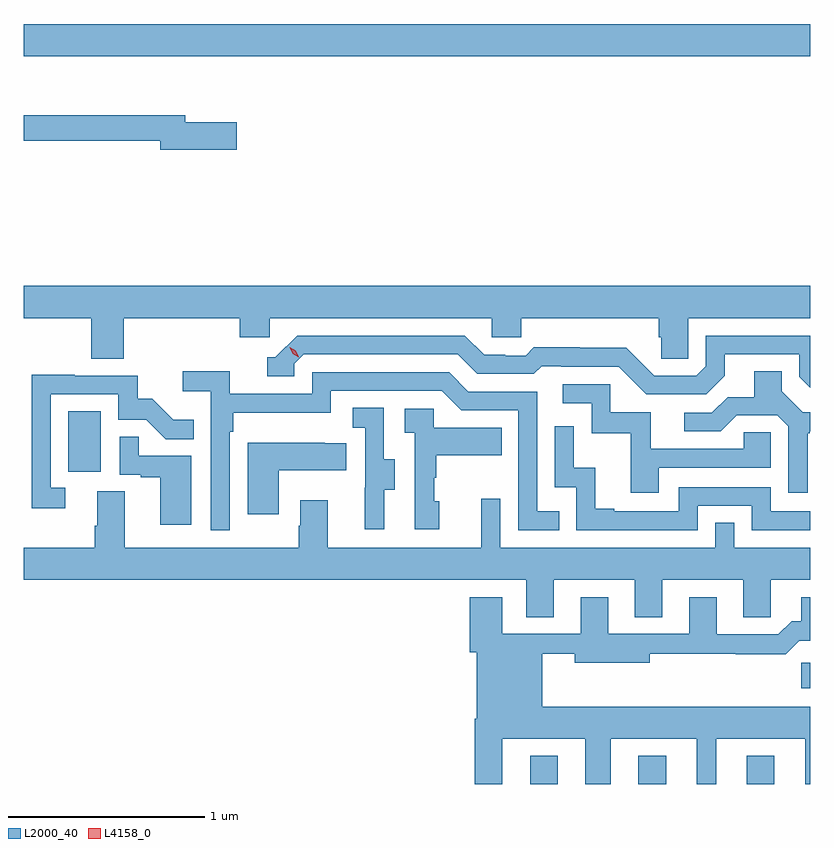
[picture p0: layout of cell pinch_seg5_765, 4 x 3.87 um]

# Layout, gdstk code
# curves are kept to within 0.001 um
import gdstk
lib = gdstk.Library(unit=1e-6, precision=1e-09)
def R(c, l, rs):  # rectangles x0, y0, x1, y1
    for r in rs: c.add(gdstk.rectangle(r[:2], r[2:], *l))
def A(c, l, x, y, w, h, nx, ny, dx, dy):  # array of equal rectangles
    R(c, l, [(x+i*dx, y+j*dy, x+i*dx+w, y+j*dy+h) for i in range(nx) for j in range(ny)])
def P(c, l, *ps):  # polygons
    for p in ps: c.add(gdstk.Polygon(p, *l))
L2000_40 = (2000, 40)
L4158_0 = (4158, 0)

pinch_seg5_765 = lib.new_cell('pinch_seg5_765')
A(pinch_seg5_765, L2000_40, 840.551, 898.345, 0.14, 0.144, 3, 1, 0.552, 0)
R(pinch_seg5_765, L2000_40, [(841.932,898.832,841.976,898.961), (838.202,899.934,838.366,900.241), (837.976,902.048,841.976,902.212)])
P(pinch_seg5_765, L2000_40, [(839.059,901.713),(838.798,901.713),(838.798,901.747),(837.976,901.747),(837.976,901.618),(838.67,901.618),(838.67,901.571),(839.059,901.571)],
  [(838.484,900.716),(839.075,900.716),(839.075,900.618),(839.226,900.618),(839.226,900.716),(840.357,900.716),(840.357,900.618),(840.507,900.618),(840.507,900.716),(841.205,900.716),(841.205,900.618),(841.219,900.618),(841.219,900.508),(841.356,900.508),(841.356,900.716),(841.976,900.716),(841.976,900.88),(837.976,900.88),(837.976,900.716),(838.319,900.716),(838.319,900.508),(838.484,900.508)],
  [(841.543,900.421),(841.543,900.531),(841.92,900.531),(841.92,900.417),(841.976,900.361),(841.976,900.627),(841.446,900.627),(841.446,900.471),(841.398,900.423),(841.182,900.423),(841.04,900.565),(840.804,900.565),(840.804,900.568),(840.571,900.568),(840.529,900.525),(840.426,900.525),(840.426,900.528),(840.319,900.528),(840.22,900.627),(839.367,900.627),(839.256,900.516),(839.213,900.516),(839.213,900.42),(839.352,900.42),(839.352,900.483),(839.4,900.531),(840.183,900.531),(840.282,900.432),(840.571,900.432),(840.61,900.471),(840.709,900.471),(840.709,900.468),(841.002,900.468),(841.143,900.327),(841.449,900.327)],
  [(841.963,900.129),(841.975,900.129),(841.976,900.237),(841.938,900.237),(841.831,900.344),(841.831,900.446),(841.691,900.446),(841.691,900.314),(841.556,900.314),(841.476,900.234),(841.335,900.234),(841.335,900.141),(841.522,900.141),(841.603,900.222),(841.809,900.222),(841.866,900.165),(841.866,899.826),(841.963,899.826)],
  [(839.022,900.137),(839.042,900.137),(839.042,900.233),(839.538,900.233),(839.538,900.345),(840.102,900.345),(840.201,900.246),(840.492,900.246),(840.492,899.637),(840.701,899.637),(840.701,899.733),(840.588,899.733),(840.588,900.342),(840.238,900.342),(840.139,900.441),(839.442,900.441),(839.442,900.33),(839.024,900.33),(839.024,900.446),(838.785,900.446),(838.785,900.344),(838.926,900.344),(838.926,899.637),(839.022,899.637)],
  [(838.186,899.853),(838.113,899.853),(838.113,900.327),(838.455,900.327),(838.455,900.198),(838.599,900.198),(838.697,900.1),(838.841,900.1),(838.841,900.199),(838.737,900.199),(838.63,900.306),(838.554,900.306),(838.554,900.423),(838.235,900.423),(838.235,900.428),(838.017,900.428),(838.017,899.748),(838.186,899.748)],
  [(841.207,899.955),(841.776,899.955),(841.776,900.135),(841.639,900.135),(841.639,900.051),(841.165,900.051),(841.165,900.237),(840.96,900.237),(840.96,900.378),(840.717,900.378),(840.717,900.282),(840.864,900.282),(840.864,900.129),(841.063,900.129),(841.063,899.826),(841.207,899.826)],
  [(839.809,899.842),(839.863,899.842),(839.863,899.997),(839.808,899.997),(839.808,900.26),(839.649,900.26),(839.649,900.157),(839.712,900.157),(839.712,899.853),(839.711,899.853),(839.711,899.64),(839.809,899.64)],
  [(840.088,899.784),(840.063,899.784),(840.063,899.903),(840.073,899.903),(840.073,900.017),(840.407,900.017),(840.407,900.157),(840.06,900.157),(840.06,900.255),(839.913,900.255),(839.913,900.131),(839.964,900.131),(839.964,899.64),(840.088,899.64)],
  [(841.404,899.76),(841.68,899.76),(841.68,899.637),(841.976,899.637),(841.976,899.733),(841.776,899.733),(841.776,899.856),(841.308,899.856),(841.308,899.733),(840.979,899.733),(840.979,899.746),(840.884,899.746),(840.884,899.954),(840.774,899.954),(840.774,900.166),(840.678,900.166),(840.678,899.856),(840.786,899.856),(840.786,899.637),(841.404,899.637)],
  [(838.828,900.015),(838.559,900.015),(838.559,900.113),(838.464,900.113),(838.464,899.919),(838.571,899.919),(838.571,899.907),(838.67,899.907),(838.67,899.664),(838.828,899.664)],
  [(839.272,899.942),(839.615,899.942),(839.615,900.079),(839.507,900.079),(839.507,900.082),(839.114,900.082),(839.114,899.718),(839.272,899.718)],
  [(840.399,899.797),(840.302,899.797),(840.302,899.548),(839.521,899.548),(839.521,899.788),(839.381,899.788),(839.381,899.66),(839.374,899.66),(839.374,899.548),(838.489,899.548),(838.489,899.834),(838.349,899.834),(838.349,899.66),(838.337,899.66),(838.337,899.548),(837.976,899.548),(837.976,899.384),(840.533,899.384),(840.533,899.194),(840.673,899.194),(840.673,899.384),(841.085,899.384),(841.085,899.194),(841.225,899.194),(841.225,899.384),(841.637,899.384),(841.637,899.194),(841.776,899.194),(841.776,899.384),(841.976,899.384),(841.976,899.548),(841.59,899.548),(841.59,899.675),(841.494,899.675),(841.494,899.548),(840.399,899.548)],
  [(840.409,898.574),(840.833,898.574),(840.833,898.345),(840.961,898.345),(840.961,898.574),(841.4,898.574),(841.4,898.345),(841.498,898.345),(841.498,898.574),(841.952,898.574),(841.952,898.345),(841.976,898.345),(841.976,898.738),(840.613,898.738),(840.613,899.008),(840.779,899.008),(840.779,898.961),(841.159,898.961),(841.159,899.008),(841.597,899.008),(841.597,899.006),(841.853,899.006),(841.922,899.075),(841.976,899.075),(841.976,899.296),(841.931,899.296),(841.931,899.173),(841.882,899.173),(841.815,899.106),(841.501,899.106),(841.501,899.296),(841.361,899.296),(841.361,899.109),(840.949,899.109),(840.949,899.296),(840.809,899.296),(840.809,899.109),(840.409,899.109),(840.409,899.296),(840.245,899.296),(840.245,899.016),(840.281,899.016),(840.281,898.678),(840.269,898.678),(840.269,898.345),(840.409,898.345)])
P(pinch_seg5_765, L4158_0, [(839.374,900.516),(839.344,900.535),(839.328,900.568),(839.328,900.568),(839.328,900.568),(839.359,900.549),(839.374,900.516),(839.374,900.516)])

lib.write_gds('pinch_seg5_765.gds')
